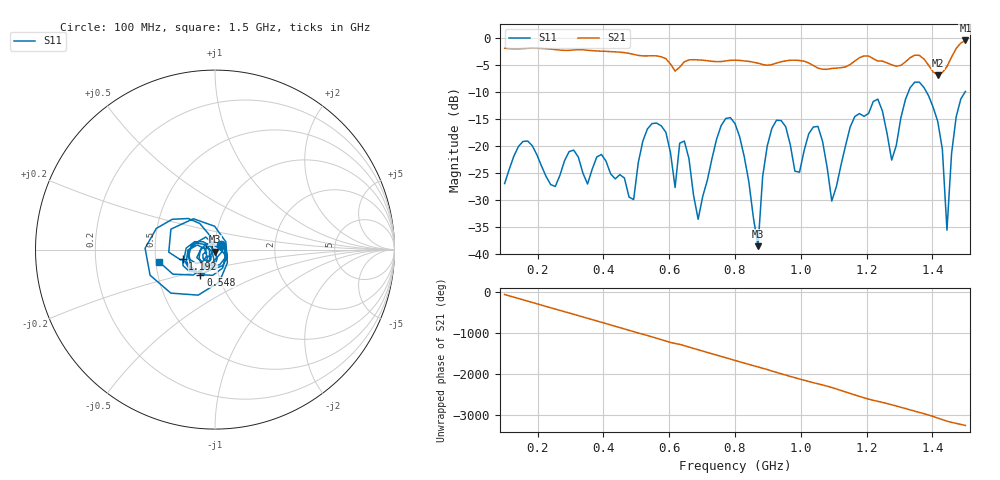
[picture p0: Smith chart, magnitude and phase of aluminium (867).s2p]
! NanoVNA-App
! Date: 2025-09-25 15:02:02
! Start: 100MHz Stop: 1,5GHz Points: 101
! S-Parameter data: F S11 S21 S12 S22
# Hz S RI R 50
!  Frequency  S11_Real  S11_Imag  S21_Real  S21_Imag  S12_Real  S12_Imag  S22_Real  S22_Imag
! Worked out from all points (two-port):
!   101 points, 100 MHz to 1.5 GHz, reference 50 ohm
!   highest |S21| = -0.48 dB at 1.5 GHz (marker M1); lowest = -6.9 dB at 1.416 GHz (marker M2)
!   |S21| within 3 dB of the highest: start of sweep to 574.5 MHz; 1.459 GHz to end of sweep (the widest 2 of 4)
!   lowest |S11| = -38.5 dB at 870 MHz (marker M3), VSWR 1.02, Z = 50 - j1.18 ohm
!   |S11| at or under -10 dB: start of sweep to 1.327 GHz; 1.382 GHz to 1.499 GHz (117.5 MHz wide, 8.16 % of centre)
!   S12 and S22 are empty: the file has one direction only
!   S11 on the Smith chart (normalised r, x): 100 MHz: 1.07, +0.06; 548 MHz: 0.82, -0.23; 1.192 GHz: 0.69, -0.08; 1.5 GHz: 0.52, -0.08
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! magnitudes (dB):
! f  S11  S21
! 100 MHz  -27.0  -1.9
! 156 MHz  -19.2  -2.0
! 338 MHz  -25.0  -2.2
! 492 MHz  -29.9  -3.1
! 548 MHz  -15.9  -3.3
! 576 MHz  -16.3  -3.5
! 618 MHz  -27.7  -6.1
! 646 MHz  -19.1  -4.4
! 688 MHz  -33.6  -4.1
! 800 MHz  -15.9  -4.1
! 870 MHz  -38.5  -4.7
! 912 MHz  -16.8  -4.9
! 996 MHz  -24.8  -4.2
! 1.038 GHz  -16.5  -5.1
! 1.094 GHz  -30.2  -5.7
! 1.192 GHz  -14.5  -3.4
! 1.276 GHz  -22.6  -5.0
! 1.346 GHz  -8.2  -3.2
! 1.416 GHz  -15.5  -6.9
! 1.444 GHz  -35.6  -5.3
! 1.472 GHz  -14.6  -2.0
! 1.5 GHz  -9.9  -0.5
